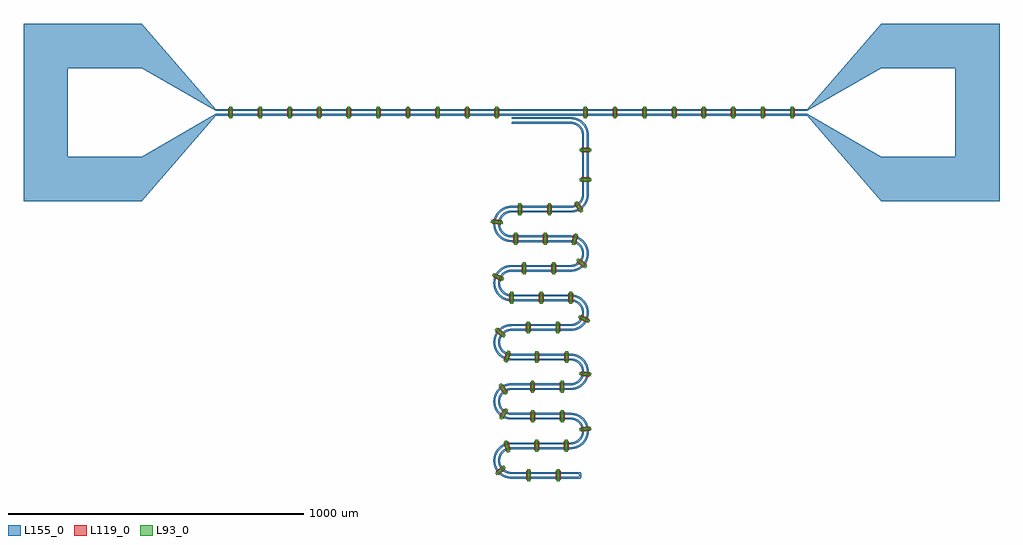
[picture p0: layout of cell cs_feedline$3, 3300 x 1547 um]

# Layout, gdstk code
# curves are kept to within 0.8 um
from math import pi, radians
import gdstk
lib = gdstk.Library(unit=1e-6, precision=1e-09)
def R(c, l, rs):  # rectangles x0, y0, x1, y1
    for r in rs: c.add(gdstk.rectangle(r[:2], r[2:], *l))
def P(c, l, *ps):  # polygons
    for p in ps: c.add(gdstk.Polygon(p, *l))
L93_0 = (93, 0)
L119_0 = (119, 0)
L155_0 = (155, 0)

bridge = lib.new_cell('bridge')
R(bridge, L93_0, [(-5,-20,5,20)])
R(bridge, L119_0, [(-8,-15,8,15)])

overlay_14 = lib.new_cell('overlay$14')
overlay_14.add(gdstk.Reference(bridge, (2450,0)))
overlay_14.add(gdstk.Reference(bridge, (2350,0)))
overlay_14.add(gdstk.Reference(bridge, (2250,0)))
overlay_14.add(gdstk.Reference(bridge, (2150,0)))
overlay_14.add(gdstk.Reference(bridge, (2050,0)))
overlay_14.add(gdstk.Reference(bridge, (1950,0)))
overlay_14.add(gdstk.Reference(bridge, (1850,0)))
overlay_14.add(gdstk.Reference(bridge, (1750,0)))

overlay_15 = lib.new_cell('overlay$15')
overlay_15.add(gdstk.Reference(bridge, (157.743,-1200)))
overlay_15.add(gdstk.Reference(bridge, (57.743,-1200)))
overlay_15.add(gdstk.Reference(bridge, (-37.403,-1183.182), rotation=radians(311.5776)))
overlay_15.add(gdstk.Reference(bridge, (-14.607,-1102.181), rotation=radians(196.986)))
overlay_15.add(gdstk.Reference(bridge, (85.177,-1100), rotation=pi))
overlay_15.add(gdstk.Reference(bridge, (185.177,-1100), rotation=pi))
overlay_15.add(gdstk.Reference(bridge, (249.56,-1043.382), rotation=radians(277.6055)))
overlay_15.add(gdstk.Reference(bridge, (171.903,-1000)))
overlay_15.add(gdstk.Reference(bridge, (71.903,-1000)))
overlay_15.add(gdstk.Reference(bridge, (-26.642,-992.311), rotation=radians(327.8029)))
overlay_15.add(gdstk.Reference(bridge, (-27.386,-908.167), rotation=radians(213.2114)))
overlay_15.add(gdstk.Reference(bridge, (71.018,-900), rotation=pi))
overlay_15.add(gdstk.Reference(bridge, (171.018,-900), rotation=pi))
overlay_15.add(gdstk.Reference(bridge, (249.435,-857.494), rotation=radians(261.3802)))
overlay_15.add(gdstk.Reference(bridge, (186.062,-800)))
overlay_15.add(gdstk.Reference(bridge, (86.062,-800)))
overlay_15.add(gdstk.Reference(bridge, (-13.758,-798.07), rotation=radians(344.0283)))
overlay_15.add(gdstk.Reference(bridge, (-37.984,-717.486), rotation=radians(229.4367)))
overlay_15.add(gdstk.Reference(bridge, (56.858,-700), rotation=pi))
overlay_15.add(gdstk.Reference(bridge, (156.858,-700), rotation=pi))
overlay_15.add(gdstk.Reference(bridge, (245.372,-671.008), rotation=radians(245.1549)))
overlay_15.add(gdstk.Reference(bridge, (200.221,-600), rotation=radians(359.7464)))
overlay_15.add(gdstk.Reference(bridge, (100.221,-600)))
overlay_15.add(gdstk.Reference(bridge, (0.221,-600)))
overlay_15.add(gdstk.Reference(bridge, (-45.557,-529.394), rotation=radians(245.662)))
overlay_15.add(gdstk.Reference(bridge, (42.699,-500), rotation=pi))
overlay_15.add(gdstk.Reference(bridge, (142.699,-500), rotation=pi))
overlay_15.add(gdstk.Reference(bridge, (237.695,-482.849), rotation=radians(228.9295)))
overlay_15.add(gdstk.Reference(bridge, (214.183,-402.054), rotation=radians(343.5211)))
overlay_15.add(gdstk.Reference(bridge, (114.381,-400)))
overlay_15.add(gdstk.Reference(bridge, (14.381,-400)))
overlay_15.add(gdstk.Reference(bridge, (-49.5,-342.944), rotation=radians(261.8873)))
overlay_15.add(gdstk.Reference(bridge, (28.54,-300), rotation=pi))
overlay_15.add(gdstk.Reference(bridge, (128.54,-300), rotation=pi))
overlay_15.add(gdstk.Reference(bridge, (227.015,-292.074), rotation=radians(212.7042)))
overlay_15.add(gdstk.Reference(bridge, (250,-200), rotation=3*pi/2))
overlay_15.add(gdstk.Reference(bridge, (250,-100), rotation=3*pi/2))

cs_resonator_2 = lib.new_cell('cs_resonator$2')
R(cs_resonator_2, L155_0, [(0,-1211,224.204,-1205), (0,-1195,224.204,-1189), (0,-1111,200,-1105), (0,-1095,200,-1089), (0,-1011,200,-1005), (0,-995,200,-989), (0,-911,200,-905), (0,-895,200,-889), (0,-811,200,-805), (0,-795,200,-789), (0,-711,200,-705), (0,-695,200,-689), (0,-611,200,-605), (0,-595,200,-589), (0,-511,200,-505), (0,-495,200,-489), (0,-411,200,-405), (0,-395,200,-389), (0,-311,200,-305), (0,-295,200,-289), (239,-250,245,-50), (255,-250,261,-50), (3,-11,200,-5), (3,5,200,11)])
P(cs_resonator_2, L155_0, [(0,8),(0.243,6.817),(0.826,5.933),(1.817,5.243),(3,5),(3,11),(1.817,10.757),(0.933,10.174),(0.243,9.183)],
  [(0,-8),(0.243,-9.183),(0.826,-10.067),(1.817,-10.757),(3,-11),(3,-5),(1.817,-5.243),(0.933,-5.826),(0.243,-6.817)],
  [(200,-11),(206.65,-11.571),(213.629,-13.459),(220.14,-16.602),(225.54,-20.526),(231.221,-26.628),(235.476,-33.799),(238.109,-41.71),(239,-50),(245,-50),(243.983,-40.488),(240.979,-31.405),(236.122,-23.163),(229.633,-16.134),(219.679,-9.531),(207.749,-5.672),(200,-5)],
  [(200,5),(209.839,4.113),(219.361,1.48),(228.258,-2.814),(236.737,-9.068),(244.262,-17.353),(250.227,-27.589),(253.724,-38.221),(255,-50),(261,-50),(259.579,-36.91),(255.67,-25.062),(249.432,-14.258),(241.126,-4.948),(228.679,3.838),(214.443,9.266),(200,11)],
  [(239,-250),(238.429,-256.65),(236.541,-263.629),(233.398,-270.14),(229.474,-275.54),(223.372,-281.221),(216.201,-285.476),(208.29,-288.109),(200,-289),(200,-295),(209.512,-293.983),(218.595,-290.979),(226.837,-286.122),(233.866,-279.633),(240.469,-269.679),(244.328,-257.749),(245,-250)],
  [(255,-250),(254.113,-259.839),(251.48,-269.361),(247.186,-278.258),(240.932,-286.737),(232.647,-294.262),(222.411,-300.227),(211.779,-303.724),(200,-305),(200,-311),(213.09,-309.579),(224.938,-305.67),(235.742,-299.432),(245.052,-291.126),(253.838,-278.679),(259.266,-264.443),(261,-250)],
  [(0,-289),(-12.455,-290.285),(-23.745,-293.811),(-34.143,-299.45),(-43.257,-306.99),(-50.744,-316.146),(-56.323,-326.576),(-59.785,-337.886),(-60.999,-349.652),(-59.92,-361.43),(-56.587,-372.779),(-50.744,-383.854),(-43.257,-393.01),(-34.143,-400.55),(-23.745,-406.189),(-12.455,-409.715),(0,-411),(0,-405),(-11.176,-403.853),(-21.886,-400.458),(-32.221,-394.574),(-40.606,-387.096),(-46.608,-379.202),(-51.094,-370.358),(-54.046,-360.202),(-54.999,-350.331),(-54.164,-340.449),(-51.569,-330.878),(-46.956,-321.361),(-41.05,-313.395),(-32.221,-305.426),(-22.491,-299.809),(-11.176,-296.147),(0,-295)],
  [(0,-305),(-8.926,-305.894),(-17.497,-308.541),(-25.373,-312.835),(-31.82,-318.18),(-37.165,-324.627),(-41.459,-332.503),(-44.106,-341.074),(-45,-350),(-44.106,-358.926),(-41.459,-367.497),(-37.165,-375.373),(-31.82,-381.82),(-25.373,-387.165),(-17.497,-391.459),(-8.926,-394.106),(0,-395),(0,-389),(-8.29,-388.109),(-16.201,-385.476),(-23.372,-381.221),(-29.474,-375.54),(-33.398,-370.14),(-36.541,-363.629),(-38.429,-356.65),(-39,-350),(-38.429,-343.35),(-36.541,-336.371),(-33.398,-329.86),(-29.474,-324.46),(-23.372,-318.779),(-16.201,-314.524),(-8.29,-311.891),(0,-311)],
  [(200,-411),(207.745,-411.777),(215.182,-414.076),(222.013,-417.807),(227.577,-422.423),(232.193,-427.987),(235.924,-434.818),(238.223,-442.255),(239,-450),(238.429,-456.65),(236.541,-463.629),(233.398,-470.14),(229.474,-475.54),(223.372,-481.221),(216.201,-485.476),(208.29,-488.109),(200,-489),(200,-495),(208.926,-494.106),(217.497,-491.459),(225.373,-487.165),(231.82,-481.82),(237.165,-475.373),(241.459,-467.497),(244.106,-458.926),(245,-450),(243.983,-440.488),(240.979,-431.405),(236.122,-423.163),(229.633,-416.134),(219.679,-409.531),(207.749,-405.672),(200,-405)],
  [(200,-395),(211.176,-396.147),(221.277,-399.282),(230.591,-404.292),(238.774,-410.992),(245.523,-419.135),(250.589,-428.418),(253.919,-439.148),(254.999,-449.669),(254.164,-459.551),(251.569,-469.122),(246.956,-478.639),(241.05,-486.605),(232.221,-494.574),(222.491,-500.191),(211.176,-503.853),(200,-505),(200,-511),(212.455,-509.715),(223.745,-506.189),(234.143,-500.55),(243.257,-493.01),(250.744,-483.854),(256.323,-473.424),(259.785,-462.114),(260.999,-450.348),(259.785,-437.886),(256.052,-425.934),(249.957,-414.996),(241.247,-405.059),(228.774,-396.213),(214.494,-390.747),(200,-389)],
  [(0,-489),(-12.455,-490.285),(-23.745,-493.811),(-34.143,-499.45),(-43.257,-506.99),(-50.744,-516.146),(-56.323,-526.576),(-59.785,-537.886),(-60.999,-549.652),(-59.92,-561.43),(-56.587,-572.779),(-50.744,-583.854),(-43.257,-593.01),(-34.143,-600.55),(-23.745,-606.189),(-12.455,-609.715),(0,-611),(0,-605),(-11.176,-603.853),(-21.886,-600.458),(-32.221,-594.574),(-40.606,-587.096),(-46.608,-579.202),(-51.094,-570.358),(-54.046,-560.202),(-54.999,-550.331),(-54.164,-540.449),(-51.569,-530.878),(-46.956,-521.361),(-41.05,-513.395),(-32.221,-505.426),(-22.491,-499.809),(-11.176,-496.147),(0,-495)],
  [(0,-505),(-8.926,-505.894),(-17.497,-508.541),(-25.373,-512.835),(-31.82,-518.18),(-37.165,-524.627),(-41.459,-532.503),(-44.106,-541.074),(-45,-550),(-44.106,-558.926),(-41.459,-567.497),(-37.165,-575.373),(-31.82,-581.82),(-25.373,-587.165),(-17.497,-591.459),(-8.926,-594.106),(0,-595),(0,-589),(-8.29,-588.109),(-16.201,-585.476),(-23.372,-581.221),(-29.474,-575.54),(-33.398,-570.14),(-36.541,-563.629),(-38.429,-556.65),(-39,-550),(-38.429,-543.35),(-36.541,-536.371),(-33.398,-529.86),(-29.474,-524.46),(-23.372,-518.779),(-16.201,-514.524),(-8.29,-511.891),(0,-511)],
  [(200,-611),(207.745,-611.777),(215.182,-614.076),(222.013,-617.807),(227.577,-622.423),(232.193,-627.987),(235.924,-634.818),(238.223,-642.255),(239,-650),(238.429,-656.65),(236.541,-663.629),(233.398,-670.14),(229.474,-675.54),(223.372,-681.221),(216.201,-685.476),(208.29,-688.109),(200,-689),(200,-695),(208.926,-694.106),(217.497,-691.459),(225.373,-687.165),(231.82,-681.82),(237.165,-675.373),(241.459,-667.497),(244.106,-658.926),(245,-650),(243.983,-640.488),(240.979,-631.405),(236.122,-623.163),(229.633,-616.134),(219.679,-609.531),(207.749,-605.672),(200,-605)],
  [(200,-595),(211.176,-596.147),(221.277,-599.282),(230.591,-604.292),(238.774,-610.992),(245.523,-619.135),(250.589,-628.418),(253.919,-639.148),(254.999,-649.669),(254.164,-659.551),(251.569,-669.122),(246.956,-678.639),(241.05,-686.605),(232.221,-694.574),(222.491,-700.191),(211.176,-703.853),(200,-705),(200,-711),(212.455,-709.715),(223.745,-706.189),(234.143,-700.55),(243.257,-693.01),(250.744,-683.854),(256.323,-673.424),(259.785,-662.114),(260.999,-650.348),(259.785,-637.886),(256.052,-625.934),(249.957,-614.996),(241.247,-605.059),(228.774,-596.213),(214.494,-590.747),(200,-589)],
  [(0,-689),(-12.455,-690.285),(-23.745,-693.811),(-34.143,-699.45),(-43.257,-706.99),(-50.744,-716.146),(-56.323,-726.576),(-59.785,-737.886),(-60.999,-749.652),(-59.92,-761.43),(-56.587,-772.779),(-50.744,-783.854),(-43.257,-793.01),(-34.143,-800.55),(-23.745,-806.189),(-12.455,-809.715),(0,-811),(0,-805),(-11.176,-803.853),(-21.886,-800.458),(-32.221,-794.574),(-40.606,-787.096),(-46.608,-779.202),(-51.094,-770.358),(-54.046,-760.202),(-54.999,-750.331),(-54.164,-740.449),(-51.569,-730.878),(-46.956,-721.361),(-41.05,-713.395),(-32.221,-705.426),(-22.491,-699.809),(-11.176,-696.147),(0,-695)],
  [(0,-705),(-8.926,-705.894),(-17.497,-708.541),(-25.373,-712.835),(-31.82,-718.18),(-37.165,-724.627),(-41.459,-732.503),(-44.106,-741.074),(-45,-750),(-44.106,-758.926),(-41.459,-767.497),(-37.165,-775.373),(-31.82,-781.82),(-25.373,-787.165),(-17.497,-791.459),(-8.926,-794.106),(0,-795),(0,-789),(-8.29,-788.109),(-16.201,-785.476),(-23.372,-781.221),(-29.474,-775.54),(-33.398,-770.14),(-36.541,-763.629),(-38.429,-756.65),(-39,-750),(-38.429,-743.35),(-36.541,-736.371),(-33.398,-729.86),(-29.474,-724.46),(-23.372,-718.779),(-16.201,-714.524),(-8.29,-711.891),(0,-711)],
  [(200,-811),(207.745,-811.777),(215.182,-814.076),(222.013,-817.807),(227.577,-822.423),(232.193,-827.987),(235.924,-834.818),(238.223,-842.255),(239,-850),(238.429,-856.65),(236.541,-863.629),(233.398,-870.14),(229.474,-875.54),(223.372,-881.221),(216.201,-885.476),(208.29,-888.109),(200,-889),(200,-895),(208.926,-894.106),(217.497,-891.459),(225.373,-887.165),(231.82,-881.82),(237.165,-875.373),(241.459,-867.497),(244.106,-858.926),(245,-850),(243.983,-840.488),(240.979,-831.405),(236.122,-823.163),(229.633,-816.134),(219.679,-809.531),(207.749,-805.672),(200,-805)],
  [(200,-795),(211.176,-796.147),(221.277,-799.282),(230.591,-804.292),(238.774,-810.992),(245.523,-819.135),(250.589,-828.418),(253.919,-839.148),(254.999,-849.669),(254.164,-859.551),(251.569,-869.122),(246.956,-878.639),(241.05,-886.605),(232.221,-894.574),(222.491,-900.191),(211.176,-903.853),(200,-905),(200,-911),(212.455,-909.715),(223.745,-906.189),(234.143,-900.55),(243.257,-893.01),(250.744,-883.854),(256.323,-873.424),(259.785,-862.114),(260.999,-850.348),(259.785,-837.886),(256.052,-825.934),(249.957,-814.996),(241.247,-805.059),(228.774,-796.213),(214.494,-790.747),(200,-789)],
  [(0,-889),(-12.455,-890.285),(-23.745,-893.811),(-34.143,-899.45),(-43.257,-906.99),(-50.744,-916.146),(-56.323,-926.576),(-59.785,-937.886),(-60.999,-949.652),(-59.92,-961.43),(-56.587,-972.779),(-50.744,-983.854),(-43.257,-993.01),(-34.143,-1000.55),(-23.745,-1006.189),(-12.455,-1009.715),(0,-1011),(0,-1005),(-11.176,-1003.853),(-21.886,-1000.458),(-32.221,-994.574),(-40.606,-987.096),(-46.608,-979.202),(-51.094,-970.358),(-54.046,-960.202),(-54.999,-950.331),(-54.164,-940.449),(-51.569,-930.878),(-46.956,-921.361),(-41.05,-913.395),(-32.221,-905.426),(-22.491,-899.809),(-11.176,-896.147),(0,-895)],
  [(0,-905),(-8.926,-905.894),(-17.497,-908.541),(-25.373,-912.835),(-31.82,-918.18),(-37.165,-924.627),(-41.459,-932.503),(-44.106,-941.074),(-45,-950),(-44.106,-958.926),(-41.459,-967.497),(-37.165,-975.373),(-31.82,-981.82),(-25.373,-987.165),(-17.497,-991.459),(-8.926,-994.106),(0,-995),(0,-989),(-8.29,-988.109),(-16.201,-985.476),(-23.372,-981.221),(-29.474,-975.54),(-33.398,-970.14),(-36.541,-963.629),(-38.429,-956.65),(-39,-950),(-38.429,-943.35),(-36.541,-936.371),(-33.398,-929.86),(-29.474,-924.46),(-23.372,-918.779),(-16.201,-914.524),(-8.29,-911.891),(0,-911)],
  [(200,-1011),(207.745,-1011.777),(215.182,-1014.076),(222.013,-1017.807),(227.577,-1022.423),(232.193,-1027.987),(235.924,-1034.818),(238.223,-1042.255),(239,-1050),(238.429,-1056.65),(236.541,-1063.629),(233.398,-1070.14),(229.474,-1075.54),(223.372,-1081.221),(216.201,-1085.476),(208.29,-1088.109),(200,-1089),(200,-1095),(208.926,-1094.106),(217.497,-1091.459),(225.373,-1087.165),(231.82,-1081.82),(237.165,-1075.373),(241.459,-1067.497),(244.106,-1058.926),(245,-1050),(243.983,-1040.488),(240.979,-1031.405),(236.122,-1023.163),(229.633,-1016.134),(219.679,-1009.531),(207.749,-1005.672),(200,-1005)],
  [(200,-995),(211.176,-996.147),(221.277,-999.282),(230.591,-1004.292),(238.774,-1010.992),(245.523,-1019.135),(250.589,-1028.418),(253.919,-1039.148),(254.999,-1049.669),(254.164,-1059.551),(251.569,-1069.122),(246.956,-1078.639),(241.05,-1086.605),(232.221,-1094.574),(222.491,-1100.191),(211.176,-1103.853),(200,-1105),(200,-1111),(212.455,-1109.715),(223.745,-1106.189),(234.143,-1100.55),(243.257,-1093.01),(250.744,-1083.854),(256.323,-1073.424),(259.785,-1062.114),(260.999,-1050.348),(259.785,-1037.886),(256.052,-1025.934),(249.957,-1014.996),(241.247,-1005.059),(228.774,-996.213),(214.494,-990.747),(200,-989)],
  [(0,-1089),(-12.455,-1090.285),(-23.745,-1093.811),(-34.143,-1099.45),(-43.257,-1106.99),(-50.744,-1116.146),(-56.323,-1126.576),(-59.785,-1137.886),(-60.999,-1149.652),(-59.92,-1161.43),(-56.587,-1172.779),(-50.744,-1183.854),(-43.257,-1193.01),(-34.143,-1200.55),(-23.745,-1206.189),(-12.455,-1209.715),(0,-1211),(0,-1205),(-11.176,-1203.853),(-21.886,-1200.458),(-32.221,-1194.574),(-40.606,-1187.096),(-46.608,-1179.202),(-51.094,-1170.358),(-54.046,-1160.202),(-54.999,-1150.331),(-54.164,-1140.449),(-51.569,-1130.878),(-46.956,-1121.361),(-41.05,-1113.395),(-32.221,-1105.426),(-22.491,-1099.809),(-11.176,-1096.147),(0,-1095)],
  [(0,-1105),(-8.926,-1105.894),(-17.497,-1108.541),(-25.373,-1112.835),(-31.82,-1118.18),(-37.165,-1124.627),(-41.459,-1132.503),(-44.106,-1141.074),(-45,-1150),(-44.106,-1158.926),(-41.459,-1167.497),(-37.165,-1175.373),(-31.82,-1181.82),(-25.373,-1187.165),(-17.497,-1191.459),(-8.926,-1194.106),(0,-1195),(0,-1189),(-8.29,-1188.109),(-16.201,-1185.476),(-23.372,-1181.221),(-29.474,-1175.54),(-33.398,-1170.14),(-36.541,-1163.629),(-38.429,-1156.65),(-39,-1150),(-38.429,-1143.35),(-36.541,-1136.371),(-33.398,-1129.86),(-29.474,-1124.46),(-23.372,-1118.779),(-16.201,-1114.524),(-8.29,-1111.891),(0,-1111)],
  [(224.204,-1189),(224.204,-1195),(227.739,-1196.464),(229.204,-1200),(227.739,-1203.536),(224.204,-1205),(224.204,-1211),(231.934,-1210.691),(234.006,-1209.247),(235.142,-1206.782),(234.895,-1192.269),(231.749,-1189.245)])
cs_resonator_2.add(gdstk.Reference(overlay_15, (0,0)))

overlay_13 = lib.new_cell('overlay$13')
overlay_13.add(gdstk.Reference(bridge, (1450,0)))
overlay_13.add(gdstk.Reference(bridge, (1350,0)))
overlay_13.add(gdstk.Reference(bridge, (1250,0)))
overlay_13.add(gdstk.Reference(bridge, (1150,0)))
overlay_13.add(gdstk.Reference(bridge, (1050,0)))
overlay_13.add(gdstk.Reference(bridge, (950,0)))
overlay_13.add(gdstk.Reference(bridge, (850,0)))
overlay_13.add(gdstk.Reference(bridge, (750,0)))
overlay_13.add(gdstk.Reference(bridge, (650,0)))
overlay_13.add(gdstk.Reference(bridge, (550,0)))

cs_feedline_3 = lib.new_cell('cs_feedline$3')
R(cs_feedline_3, L155_0, [(0,-300,250,-150), (2750,-300,3000,-150), (500,-11,1500,-5), (1500,-11,1700,-5), (1700,-11,2500,-5), (500,5,1500,11), (1500,5,1700,11), (1700,5,2500,11), (0,150,250,300), (2750,150,3000,300)])
P(cs_feedline_3, L155_0, [(0,-300),(0,-150),(0,150),(0,300),(-150,300),(-150,-300)],
  [(250,150),(500,5),(500,11),(250,300)],
  [(250,-300),(500,-11),(500,-5),(250,-150)],
  [(2500,5),(2750,150),(2750,300),(2500,11)],
  [(2500,-11),(2750,-300),(2750,-150),(2500,-5)],
  [(3000,300),(3000,150),(3000,-150),(3000,-300),(3150,-300),(3150,300)])
cs_feedline_3.add(gdstk.Reference(overlay_14, (0,0)))
cs_feedline_3.add(gdstk.Reference(cs_resonator_2, (1500,-27)))
cs_feedline_3.add(gdstk.Reference(overlay_13, (0,0)))

lib.write_gds('cs_feedline_3.gds')
